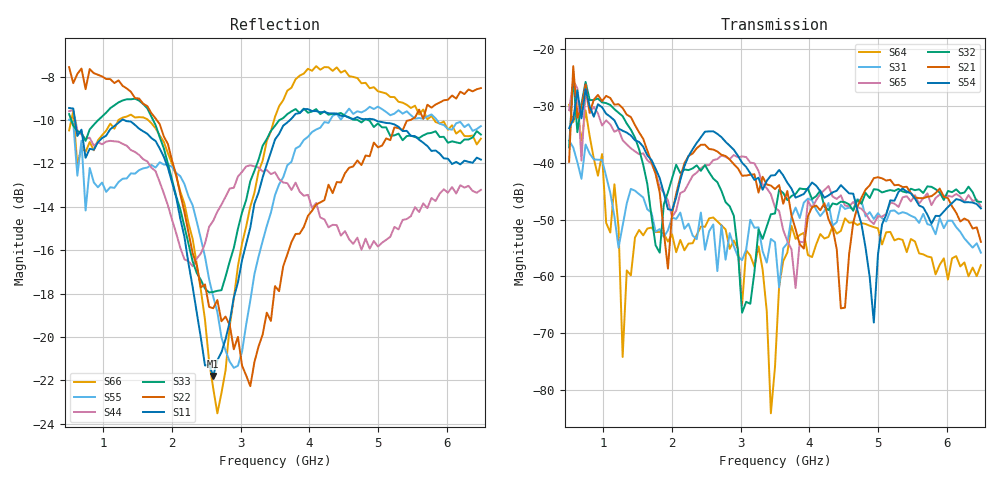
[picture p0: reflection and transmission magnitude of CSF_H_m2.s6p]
!Keysight Technologies,M9804A,MY58100912,A.14.10.03
!Date: Thursday, April 27, 2023 10:28:33
!Correction: S11(C  6-Port  )
!S12(C  6-Port  )
!S13(C  6-Port  )
!S14(C  6-Port  )
!S15(C  6-Port  )
!S16(C  6-Port  )
!S21(C  6-Port  )
!S22(C  6-Port  )
!S23(C  6-Port  )
!S24(C  6-Port  )
!S25(C  6-Port  )
!S26(C  6-Port  )
!S31(C  6-Port  )
!S32(C  6-Port  )
!S33(C  6-Port  )
!S34(C  6-Port  )
!S35(C  6-Port  )
!S36(C  6-Port  )
!S41(C  6-Port  )
!S42(C  6-Port  )
!S43(C  6-Port  )
!S44(C  6-Port  )
!S45(C  6-Port  )
!S46(C  6-Port  )
!S51(C  6-Port  )
!S52(C  6-Port  )
!S53(C  6-Port  )
!S54(C  6-Port  )
!S55(C  6-Port  )
!S56(C  6-Port  )
!S61(C  6-Port  )
!S62(C  6-Port  )
!S63(C  6-Port  )
!S64(C  6-Port  )
!S65(C  6-Port  )
!S66(C  6-Port  )
!S6P File: Measurement: :
# Hz S  RI  R 50
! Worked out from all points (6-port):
!   101 points, 500 MHz to 6.5 GHz, reference 50 ohm
!   strongest paths, dB at 500 MHz, 2 GHz, 3.5 GHz, 5 GHz, 6.5 GHz:
!     S54: -33.9, -48.4, -42.2, -56.2, -48.1
!     S21: -39.9, -48.9, -44.6, -42.6, -53.9
!     S32: -37.3, -42.8, -48.9, -44.8, -46.9
!     S65: -30.8, -49.5, -47.9, -49.4, -47.7
!     S31: -36.1, -49.6, -54.0, -48.9, -55.8
!     S64: -29.8, -52.6, -75.9, -51.5, -58.0
!   lowest |S11| = -21.8 dB at 2.6 GHz (marker M1), VSWR 1.18, Z = 42.7 + j1.96 ohm
!   |S11| at or under -10 dB: 585.3 MHz to 1.268 GHz (682.9 MHz wide, 73.7 % of centre); 1.302 GHz to 3.718 GHz (2.415 GHz wide, 96.2 % of centre); 4.961 GHz to end of sweep
